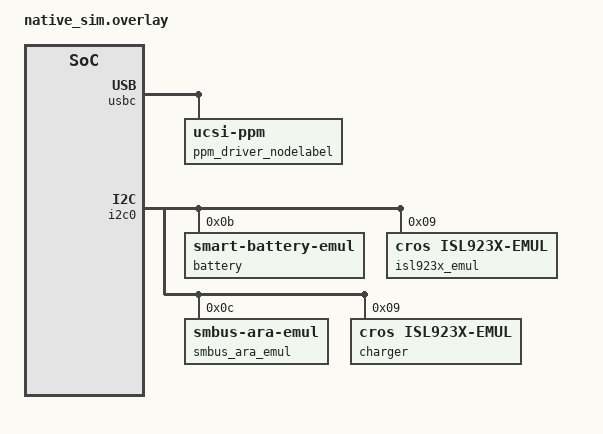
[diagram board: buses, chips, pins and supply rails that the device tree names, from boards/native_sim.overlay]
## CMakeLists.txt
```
# Copyright 2024 The ChromiumOS Authors
# Use of this source code is governed by a BSD-style license that can be
# found in the LICENSE file.

cmake_minimum_required(VERSION 3.13.1)
find_package(Zephyr REQUIRED HINTS "${ZEPHYR_BASE}")
project(pdc)

# Include FFF fakes
add_subdirectory(${PLATFORM_EC}/zephyr/test/test_utils test_utils)

zephyr_include_directories(include)

target_sources(app PRIVATE src/main.c)
target_sources(app PRIVATE src/fakes.c)

target_sources_ifdef(CONFIG_TEST_PDC_MESSAGE_TRACING  app PRIVATE
	src/util_pcap.c
	src/pdc_trace_msg.c)

if (DEFINED CONFIG_TEST_SUITE_PDC_API)
	target_sources(app PRIVATE src/generic/pdc_api.c)
endif()

if (DEFINED CONFIG_TEST_SUITE_PDC_GENERIC)
	target_sources(app PRIVATE src/generic/pdc_attached_snk.c)
	target_sources(app PRIVATE src/generic/pdc_power_mgmt_api.c)
	target_sources(app PRIVATE src/generic/pdc_pmc_debug_api.c)
	target_sources_ifdef(CONFIG_PDC_RUNTIME_PORT_CONFIG
		app PRIVATE src/board_runtime_config.c)
endif()

if (DEFINED CONFIG_TEST_SUITE_PDC_UTILS)
	target_sources(app PRIVATE src/generic/usb_utils.c)
endif()

if (DEFINED CONFIG_TEST_SUITE_PDC_POLICY)
	target_sources(app PRIVATE src/pdc_policy/non_pd_policy.c)
	target_sources(app PRIVATE src/pdc_policy/select_best_pdo.c)
	target_sources(app PRIVATE src/pdc_policy/src_policy_common.c)
	target_sources(app PRIVATE src/pdc_policy/src_policy_3a_port.c)
	target_sources(app PRIVATE src/pdc_policy/src_policy_battery_overload.c)
endif()

if (DEFINED CONFIG_TEST_SUITE_PDC_POLICY_SRC_NO_3A)
	target_sources(app PRIVATE src/pdc_policy/src_policy_common.c)
	target_sources(app PRIVATE src/pdc_policy/src_policy_no_3a_port.c)
endif()

if (DEFINED CONFIG_TEST_SUITE_PDC_POLICY_SINK)
	target_sources(app PRIVATE src/pdc_policy/sink_policy.c)
endif()

if (DEFINED CONFIG_TEST_SUITE_PDC_BATTERY_STATUS)
	target_sources(app PRIVATE src/generic/pdc_battery_status.c)
endif()

if (DEFINED CONFIG_TEST_PDC_POLICY_DEAD_BATTERY_TWO_CHARGERS)
	target_sources(app PRIVATE src/pdc_policy/dead_battery_policy.c)
	target_sources(app PRIVATE src/pdc_policy/dead_battery_two_chargers.c)
endif()

if (DEFINED CONFIG_TEST_PDC_POLICY_DEAD_BATTERY_AC_ONLY_AP_ON)
	target_sources(app PRIVATE src/pdc_policy/dead_battery_policy.c)
	target_sources(app PRIVATE src/pdc_policy/dead_battery_ac_only_ap_on.c)
endif()

if (DEFINED CONFIG_TEST_PDC_POLICY_DEAD_BATTERY_AC_ONLY_AP_OFF)
	target_sources(app PRIVATE src/pdc_policy/dead_battery_policy.c)
	target_sources(app PRIVATE src/pdc_policy/dead_battery_ac_only_ap_off.c)
endif()

if (DEFINED CONFIG_TEST_SUITE_PDC_POLICY_CLAMPED)
	target_sources(app PRIVATE src/pdc_policy/select_best_pdo_clamped.c)
endif()

if (DEFINED CONFIG_TEST_SUITE_PDC_POLICY_VARIABLE)
	target_sources(app PRIVATE src/pdc_policy/select_best_pdo_variable.c)
endif()

if (DEFINED CONFIG_TEST_SUITE_PDC_API_NULL_CHECK)
	target_sources(app PRIVATE src/generic/pdc_null_api.c)
endif()

if (DEFINED CONFIG_TEST_SUITE_PDC_DEVICE_NOT_READY)
	target_sources(app PRIVATE src/generic/device_not_ready.c)
endif()

if (DEFINED CONFIG_TEST_SUITE_PDC_RTS54XX)
	target_sources(app PRIVATE src/rts54xx/rts54xx.c)
endif()

if (DEFINED CONFIG_TEST_SUITE_PDC_TPS6699X)
	zephyr_include_directories(${PLATFORM_EC}/zephyr/drivers/usbc)
	target_sources(app PRIVATE src/tps6699x/tps6699x.c)
endif()

if (DEFINED CONFIG_TEST_SUITE_PDC_RETIMER_FW_UPDATE)
	target_sources(app PRIVATE src/generic/retimer_fw_update.c)
endif()

if (DEFINED CONFIG_TEST_SUITE_PDC_CONSOLE)
	target_sources(app PRIVATE src/generic/pdc_console.c)
	target_sources(app PRIVATE src/mock_pdc_power_mgmt.c)
endif()

if (DEFINED CONFIG_TEST_SUITE_PDC_HOSTCMD)
	target_sources(app PRIVATE src/generic/pdc_host_cmd.c)
	target_sources(app PRIVATE src/mock_pdc_power_mgmt.c)
endif()

if (DEFINED CONFIG_TEST_SUITE_UCSI_HOSTCMD)
	target_sources(app PRIVATE src/generic/ucsi_host_cmd.c)
	target_sources(app PRIVATE ${PLATFORM_EC}/zephyr/subsys/ucsi/ucsi_host_cmd.c)
endif()

if (DEFINED CONFIG_TEST_SUITE_PPM)
	zephyr_include_directories(${PLATFORM_EC}/zephyr/subsys/ucsi)
	target_sources(app PRIVATE src/generic/ppm.c)
	target_sources(app PRIVATE src/generic/ucsi_ppm_host_cmd.c)
	target_sources_ifdef(CONFIG_PDC_RUNTIME_PORT_CONFIG
		app PRIVATE src/board_runtime_config.c)
endif()

if (DEFINED CONFIG_TEST_SUITE_PPM_CONSOLE)
	target_sources(app PRIVATE ${PLATFORM_EC}/zephyr/subsys/ucsi/ppm_console.c)
	target_sources(app PRIVATE src/generic/ppm_console.c)
endif()

if (DEFINED CONFIG_TEST_SUITE_PDC_PMC_USB_MUX)
	target_sources(app PRIVATE src/generic/pdc_pmc_usb_mux.c)
endif()

if (DEFINED CONFIG_TEST_SUITE_PPM_DRIVER)
	target_sources(app PRIVATE src/generic/ppm_driver.c)
	target_sources(app PRIVATE ${PLATFORM_EC}/zephyr/subsys/ucsi/ppm_driver.c)
endif()

if (DEFINED CONFIG_TEST_SUITE_PDC_UCSI)
	target_sources(app PRIVATE src/ucsi/ucsi.c)
endif()

if (DEFINED CONFIG_TEST_SUITE_PPM_STATE_MACHINE)
	target_sources(app PRIVATE src/generic/ppm_state_machine.c)

	zephyr_include_directories(${PLATFORM_EC}/zephyr/subsys/ucsi)
	target_sources(app PRIVATE ${PLATFORM_EC}/zephyr/subsys/ucsi/ppm_common.c)
endif()

if (DEFINED CONFIG_TEST_SUITE_PDC_TRACE_MSG)
	target_sources(app PRIVATE src/generic/pdc_trace_msg.c)
endif()

if (DEFINED CONFIG_TEST_SUITE_PDC_RUNTIME_PORT_CONFIG)
	target_sources_ifdef(CONFIG_TEST_PDC_RUNTIME_CONFIG_SCENARIO_NO_PDCS
		app PRIVATE src/runtime_config/no_pdcs.c)
	target_sources_ifdef(CONFIG_TEST_PDC_RUNTIME_CONFIG_SCENARIO_ONE_PDC
		app PRIVATE src/runtime_config/one_pdc.c)
	target_sources_ifdef(CONFIG_TEST_PDC_RUNTIME_CONFIG_SCENARIO_DISCONT
		app PRIVATE src/runtime_config/discontiguous.c)
	target_sources_ifdef(CONFIG_TEST_PDC_RUNTIME_CONFIG_SCENARIO_TWO_PDCS
		app PRIVATE src/runtime_config/two_pdcs.c)
endif()

if (DEFINED CONFIG_TEST_SUITE_PDC_COMMS_SUSPEND_RESUME)
	target_sources(app PRIVATE src/generic/pdc_comms_suspend_resume.c)
endif()
```

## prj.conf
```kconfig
# Copyright 2024 The ChromiumOS Authors
# Use of this source code is governed by a BSD-style license that can be
# found in the LICENSE file.

CONFIG_ZTEST=y

# Basic EC functions
CONFIG_SHIMMED_TASKS=y
CONFIG_CROS_EC=y
CONFIG_PLATFORM_EC=y
CONFIG_PLATFORM_EC_HOOKS=y
CONFIG_PLATFORM_EC_HOSTCMD=y
CONFIG_PLATFORM_EC_SYSTEM_UNLOCKED=y

# Disable CONFIG_PLATFORM_EC_DEBUG_ASSERT to avoid
# zassert_post_action conflict
CONFIG_PLATFORM_EC_DEBUG_ASSERT=n

# Console
CONFIG_SHELL_BACKEND_DUMMY=y
CONFIG_SHELL_BACKEND_DUMMY_BUF_SIZE=1000
CONFIG_SHELL_BACKEND_SERIAL=n
CONFIG_SERIAL=y

# Logging is configured to send output to the shell, disable
# the UART backed to prevent duplicate messages in the output.
CONFIG_LOG_BACKEND_UART=n

# Emulated PDC
CONFIG_EMUL=y

# Disable BC1.2
CONFIG_PLATFORM_EC_USB_CHARGER=n

CONFIG_PLATFORM_EC_CHARGER=y
CONFIG_PLATFORM_EC_CHARGER_SENSE_RESISTOR=10
CONFIG_PLATFORM_EC_CHARGER_SENSE_RESISTOR_AC=10
CONFIG_PLATFORM_EC_CHARGER_ISL9238=y

# Turn off other unneeded features
CONFIG_PLATFORM_EC_BACKLIGHT_LID=n
CONFIG_PLATFORM_EC_VBOOT_HASH=n
CONFIG_PLATFORM_EC_SWITCH=n
CONFIG_PLATFORM_EC_USBC_SS_MUX=n

# Disable [TCPMv2] Power Delivery Function
CONFIG_PLATFORM_EC_USB_POWER_DELIVERY=n
CONFIG_PLATFORM_EC_USBC_PPC=n
CONFIG_PLATFORM_EC_USB_PD_PPC=n
CONFIG_PLATFORM_EC_HOSTCMD_PD_CONTROL=n
CONFIG_PLATFORM_EC_HOSTCMD_RWHASHPD=n

# Disable typec host commands until a PDC counterpart exists.
CONFIG_PLATFORM_EC_HOSTCMD_TYPEC_DISCOVERY=n
CONFIG_PLATFORM_EC_HOSTCMD_TYPEC_CONTROL=n
CONFIG_PLATFORM_EC_HOSTCMD_TYPEC_STATUS=n
CONFIG_PLATFORM_EC_HOSTCMD_PD_CHIP_INFO=n

# Use PD Controller
CONFIG_PLATFORM_EC_USBC=y
CONFIG_PLATFORM_EC_USB_PD_CONTROLLER=y
CONFIG_PLATFORM_EC_USB_PD_VBUS_MEASURE_NOT_PRESENT=y
CONFIG_PLATFORM_EC_USB_PD_DISCHARGE=n

# Test PDC-driven CCD
CONFIG_USBC_PDC_DRIVEN_CCD=y

# Allow more time in unit tests for the PDC Power Mgmt state machine to reach
# a steady state. TODO(b/372259212): Investigate what's holding up the sequence
CONFIG_PDC_POWER_MGMT_STATE_MACHINE_SETTLED_TIMEOUT_MS=2500

# Charger
CONFIG_PLATFORM_EC_BATTERY_FUEL_GAUGE=y
CONFIG_PLATFORM_EC_CHARGER_ISL9238=y
CONFIG_PLATFORM_EC_CHARGER_SENSE_RESISTOR=10
CONFIG_PLATFORM_EC_CHARGER_SENSE_RESISTOR_AC=20
CONFIG_PLATFORM_EC_CHARGER_MIN_POWER_MW_FOR_POWER_ON=30000
CONFIG_PLATFORM_EC_CHARGER_MIN_POWER_MW_FOR_POWER_ON_WITH_BATT=15000

CONFIG_USB_PDC_POWER_MGMT=y

# Print logs from Zephyr LOG_MODULE to stdout
CONFIG_UART_NATIVE_PTY_0_ON_STDINOUT=y
CONFIG_LOG_BACKEND_SHOW_COLOR=n

CONFIG_PLATFORM_EC_USB_PD_VBUS_MEASURE_NOT_PRESENT=y
CONFIG_PDC_POWER_MGMT_SRC_PDO_PEAK_OCP_150=y

# Test battery overload
CONFIG_PDC_POWER_MGMT_SRC_THROTTLING=n
```

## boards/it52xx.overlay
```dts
/* Copyright 2026 The ChromiumOS Authors
 * Use of this source code is governed by a BSD-style license that can be
 * found in the LICENSE file.
 */

#include "native_sim.overlay"

&i2c0 {
	pdc_emul1: it52xx-pdc@26 {
		compatible = "ite,it52xx-pdc";
		reg = <0x26>;
		ccd;
	};

	pdc_emul2: it52xx-pdc@27 {
		compatible = "ite,it52xx-pdc";
		reg = <0x27>;
	};
};
```

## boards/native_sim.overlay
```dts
/* Copyright 2024 The ChromiumOS Authors
 * Use of this source code is governed by a BSD-style license that can be
 * found in the LICENSE file.
 */

#include <board-overlays/native_sim.dts>
#include <it8xxx2_emul.dts>
#include <usbc-policy.dtsi>

/ {
	usbc {
		#address-cells = <1>;
		#size-cells = <0>;

		/* Configure just the DB port
		 */
		usbc0: port0@0 {
			compatible = "named-usbc-port";
			reg = <0>;
			chg = <&charger>;
			pdc = <&pdc_emul1>;
			chg = <&isl923x_emul>;
			policy = <&cros_policy>;
			pd-retimer;
			usb-mux-chain-0 {
				compatible = "cros-ec,usb-mux-chain";
				usb-muxes = <&virtual_mux_0>;
			};
			zephyr,deferred-init;
		};

		port0-muxes {
			virtual_mux_0: virtual-mux-0 {
				compatible = "cros-ec,usbc-mux-virtual";
			};
		};

		usbc1: port1@1 {
			compatible = "named-usbc-port";
			reg = <1>;
			pdc = <&pdc_emul2>;
			policy = <&cros_policy>;
			pd-retimer;
			usb-mux-chain-1 {
				compatible = "cros-ec,usb-mux-chain";
				usb-muxes = <&virtual_mux_1>;
			};
			zephyr,deferred-init;
		};

		port1-muxes {
			virtual_mux_1: virtual-mux-1 {
				compatible = "cros-ec,usbc-mux-virtual";
			};
		};

		ppm_driver_nodelabel: ppm-driver {
			compatible = "ucsi-ppm";
			b-num-alt-modes = <2>;
		};
	};

	batteries {
		default_battery: lgc_ac17a8m {
			compatible = "lgc,ac17a8m", "battery-smart";
		};
	};

	named-i2c-ports {
		compatible = "named-i2c-ports";

		i2c_ec_i2c_usb_c0: ec_i2c_usb_c0 {
			i2c-port = <&i2c0>;
			enum-names = "I2C_PORT_USB_C0_TCPC";
		};

		i2c_ec_i2c_charger: ec_i2c_charger {
			i2c-port = <&i2c0>;
			enum-names = "I2C_PORT_BATTERY";
		};
	};

};

&i2c0 {
	battery: sb@b {
		compatible = "zephyr,smart-battery-emul";
		reg = <0xb>;
		cycle-count = <6>;
		version = "BATTERY_SPEC_VER_1_1_WITH_PEC";
		desired-charg-volt = <11250>;
		desired-charg-cur = <2400>;
		mf-name = "LGC";
		dev-name = "AP18C8K";
	};

	isl923x_emul: isl923x@9 {
		compatible = "cros,isl923x-emul";
		status = "okay";
		reg = <0x09>;
		battery = <&battery>;
	};

	smbus_ara_emul: smbus_ara@c {
		compatible = "zephyr,smbus-ara-emul";
		reg = <0xc>;
	};

	charger: isl9238@9 {
		compatible = "cros,isl923x-emul";
		status = "okay";
		reg = <0x9>;
		battery = <&battery>;
	};
};

&cros_policy {
	max-discharge-current-ma = <4500>;
	max-discharge-power-mw = <41000>;
};
```

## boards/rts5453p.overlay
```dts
/* Copyright 2024 The ChromiumOS Authors
 * Use of this source code is governed by a BSD-style license that can be
 * found in the LICENSE file.
 */

#include "native_sim.overlay"

&i2c0 {
	pdc_emul1: rts5453p@66 {
		compatible = "realtek,rts54-pdc";
		status = "okay";
		reg = <0x66>;
		irq-gpios = <&gpio0 0 GPIO_ACTIVE_LOW>;
		ccd;
		usb-comm-capable-as-device;
		usb4-capable-as-host;
	};

	pdc_emul2: rts5453p@67 {
		compatible = "realtek,rts54-pdc";
		status = "okay";
		reg = <0x67>;
		irq-gpios = <&gpio0 0 GPIO_ACTIVE_LOW>;
	};
};
```

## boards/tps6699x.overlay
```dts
/* Copyright 2024 The ChromiumOS Authors
 * Use of this source code is governed by a BSD-style license that can be
 * found in the LICENSE file.
 */

#include "native_sim.overlay"

/{
        /* Leverage 'zephyr,user' node for driver specific behavior */
        zephyr,user {
                test_timeout = <1850>;
                /* TI PDC Info */
                pd_version = <0>;
                pd_revision = <0>;
                project_name = "GOOG";
        };
};

&i2c0 {
        pdc_emul1: tps6699-pdc@20 {
                compatible = "ti,tps6699-pdc";
                reg = <0x20>;
                irq-gpios = <&gpiof 5 (GPIO_PULL_UP | GPIO_ACTIVE_LOW)>;
                port-index-on-chip = <0x1>;
                ccd;
                frs-supported;
        };

        pdc_emul2: tps6699-pdc@24 {
                compatible = "ti,tps6699-pdc";
                reg = <0x24>;
                irq-gpios = <&gpiof 5 (GPIO_PULL_UP | GPIO_ACTIVE_LOW)>;
                port-index-on-chip = <0x2>;
                frs-supported;
        };
};
```

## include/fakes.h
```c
/* Copyright 2025 The ChromiumOS Authors
 * Use of this source code is governed by a BSD-style license that can be
 * found in the LICENSE file.
 */

#ifndef PLATFORM_EC_ZEPHYR_TEST_PDC_INCLUDE_FAKES_H_
#define PLATFORM_EC_ZEPHYR_TEST_PDC_INCLUDE_FAKES_H_

#include "battery.h"

extern struct batt_params test_batt_params;

void set_battery_present(enum battery_present bp);

extern int mock_usb_pd_3a_ports;

#endif /* PLATFORM_EC_ZEPHYR_TEST_PDC_INCLUDE_FAKES_H_ */
```

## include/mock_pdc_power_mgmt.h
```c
/* Copyright 2024 The ChromiumOS Authors
 * Use of this source code is governed by a BSD-style license that can be
 * found in the LICENSE file.
 */

#ifndef PLATFORM_EC_ZEPHYR_TEST_PDC_INCLUDE_MOCK_PDC_POWER_MGMT_H_
#define PLATFORM_EC_ZEPHYR_TEST_PDC_INCLUDE_MOCK_PDC_POWER_MGMT_H_

#include "drivers/ucsi_v3.h"
#include "usbc/pdc_power_mgmt.h"

#include <zephyr/fff.h>

/* FFF fake declarations for select functions in `pdc_power_mgmt.c` */

DECLARE_FAKE_VALUE_FUNC(int, pdc_power_mgmt_connector_reset, int,
			enum connector_reset);
DECLARE_FAKE_VALUE_FUNC(int, pdc_power_mgmt_get_cable_prop, int,
			union cable_property_t *);
DECLARE_FAKE_VALUE_FUNC(int, pdc_power_mgmt_get_connector_status, int,
			union connector_status_t *);
DECLARE_FAKE_VALUE_FUNC(int, pdc_power_mgmt_get_info, int, struct pdc_info_t *,
			bool);
DECLARE_FAKE_VALUE_FUNC(bool, pdc_power_mgmt_get_partner_data_swap_capable,
			int);
DECLARE_FAKE_VALUE_FUNC(enum pd_power_role, pdc_power_mgmt_get_power_role, int);
DECLARE_FAKE_VALUE_FUNC(const char *, pdc_power_mgmt_get_task_state_name, int);
DECLARE_FAKE_VALUE_FUNC(bool, pdc_power_mgmt_is_connected, int);
DECLARE_FAKE_VALUE_FUNC(enum pd_data_role, pdc_power_mgmt_pd_get_data_role,
			int);
DECLARE_FAKE_VALUE_FUNC(enum tcpc_cc_polarity, pdc_power_mgmt_pd_get_polarity,
			int);
DECLARE_FAKE_VOID_FUNC(pdc_power_mgmt_request_data_swap, int);
DECLARE_FAKE_VOID_FUNC(pdc_power_mgmt_request_power_swap, int);
DECLARE_FAKE_VALUE_FUNC(int, pdc_power_mgmt_reset, int);
DECLARE_FAKE_VALUE_FUNC(int, pdc_power_mgmt_set_comms_state, bool);
DECLARE_FAKE_VOID_FUNC(pdc_power_mgmt_set_dual_role, int,
		       enum pd_dual_role_states);
DECLARE_FAKE_VALUE_FUNC(enum pd_dual_role_states, pdc_power_mgmt_get_dual_role,
			int);
DECLARE_FAKE_VALUE_FUNC(int, pdc_power_mgmt_set_trysrc, int, bool);
DECLARE_FAKE_VOID_FUNC(pdc_power_mgmt_request_source_voltage, int, int);
DECLARE_FAKE_VALUE_FUNC(unsigned int, pdc_power_mgmt_get_max_voltage);
DECLARE_FAKE_VALUE_FUNC(uint8_t, pdc_power_mgmt_get_src_cap_cnt, int);
DECLARE_FAKE_VALUE_FUNC(const uint32_t *const, pdc_power_mgmt_get_src_caps,
			int);
DECLARE_FAKE_VALUE_FUNC(int, pdc_power_mgmt_get_lpm_ppm_info, int,
			struct lpm_ppm_info_t *);
DECLARE_FAKE_VALUE_FUNC(bool, pdc_power_mgmt_check_hpd_wake, int);
DECLARE_FAKE_VALUE_FUNC(int, pdc_power_mgmt_get_pch_data_status, int,
			uint8_t *);
DECLARE_FAKE_VALUE_FUNC(int, pdc_power_mgmt_get_rdo, int, uint32_t *);
DECLARE_FAKE_VALUE_FUNC(int, pdc_power_mgmt_get_drp_mode, int,
			enum drp_mode_t *);
DECLARE_FAKE_VALUE_FUNC(bool, pdc_power_mgmt_get_vconn_state, int);
DECLARE_FAKE_VALUE_FUNC(int, pdc_power_mgmt_get_sbu_mux_mode,
			enum pdc_sbu_mux_mode *, int *);
DECLARE_FAKE_VALUE_FUNC(int, pdc_power_mgmt_set_sbu_mux_mode,
			enum pdc_sbu_mux_mode);
DECLARE_FAKE_VALUE_FUNC(int, pdc_power_mgmt_set_bbr_cts, int, bool);
DECLARE_FAKE_VALUE_FUNC(int, pdc_power_mgmt_set_ap_power_state,
			enum power_state);
DECLARE_FAKE_VOID_FUNC(pdc_power_mgmt_simulate_power_button_press, int);

/**
 * @brief Reset the above set of fakes
 */
void helper_reset_pdc_power_mgmt_fakes(void);

#endif /* PLATFORM_EC_ZEPHYR_TEST_PDC_INCLUDE_MOCK_PDC_POWER_MGMT_H_ */
```

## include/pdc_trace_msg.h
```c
/* Copyright 2024 The ChromiumOS Authors
 * Use of this source code is governed by a BSD-style license that can be
 * found in the LICENSE file.
 */

#ifndef PLATFORM_EC_ZEPHYR_TEST_PDC_INCLUDE_PDC_TRACE_MSG_H_
#define PLATFORM_EC_ZEPHYR_TEST_PDC_INCLUDE_PDC_TRACE_MSG_H_

void set_pdc_trace_msg_mocks(void);

#endif /* PLATFORM_EC_ZEPHYR_TEST_PDC_INCLUDE_PDC_TRACE_MSG_H_ */
```

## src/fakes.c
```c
/* Copyright 2024 The ChromiumOS Authors
 * Use of this source code is governed by a BSD-style license that can be
 * found in the LICENSE file.
 */

#include "battery.h"
#include "charge_state.h"
#include "fakes.h"

static enum battery_present bp_val = BP_YES;

struct batt_params test_batt_params = {
	.is_present = BP_YES,
};

void set_battery_present(enum battery_present bp)
{
	bp_val = bp;
	test_batt_params.is_present = bp;
}

int battery_is_present(void)
{
	return bp_val;
}

const struct batt_params *charger_current_battery_params(void)
{
	return &test_batt_params;
}

int test_extpower_present = 0;
int extpower_is_present(void)
{
	return test_extpower_present;
}

#ifndef CONFIG_PLATFORM_EC_USB_PD_3A_PORTS
#define CONFIG_PLATFORM_EC_USB_PD_3A_PORTS 0
#endif
int mock_usb_pd_3a_ports = CONFIG_PLATFORM_EC_USB_PD_3A_PORTS;
int pd_get_usb_pd_3a_ports(void)
{
	return mock_usb_pd_3a_ports;
}
```

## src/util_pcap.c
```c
/* Copyright 2024 The ChromiumOS Authors
 * Use of this source code is governed by a BSD-style license that can be
 * found in the LICENSE file.
 */

#include "timer.h"
#include "util_pcap.h"

#include <stdio.h>
#include <string.h>

#include <zephyr/kernel.h>
#include <zephyr/logging/log.h>
#include <zephyr/sys/clock.h>

LOG_MODULE_REGISTER(pdc_util_pcap, LOG_LEVEL_INF);

/*
 * Minimal pcap file structures originally from pcap/pcap.h
 */

struct pcap_hdr {
	uint32_t magic_number; /* magic number */
	uint16_t version_major; /* major version number */
	uint16_t version_minor; /* minor version number */
	int32_t thiszone; /* not used - SHOULD be filled with 0 */
	uint32_t sigfigs; /* not used - SHOULD be filled with 0 */
	uint32_t snaplen; /* max length saved portion of each pkt */
	uint32_t linktype; /* data link type (LINKTYPE_*) */
};

struct pcap_pkthdr {
	uint32_t ts_sec; /* time stamp seconds */
	uint32_t ts_usec; /* time stamp microseconds */
	uint32_t caplen; /* length of portion present in data */
	uint32_t len; /* length of this packet prior to any slicing */
};

FILE *pcap_open(void)
{
	/*
	 * Each test runs in its own dedicated output directory, so
	 * "rts.pcap" will be created as a sibling to "build.log" and
	 * "handler.log".
	 */
	static const char pcap_file[] = "rts.pcap";
	FILE *fp;
	struct pcap_hdr hdr;

	fp = fopen(pcap_file, "w");
	if (fp == NULL) {
		LOG_ERR("Could not open pcap file %s\n", pcap_file);
		return NULL;
	}

	memset(&hdr, 0, sizeof(hdr));
	hdr.magic_number = 0xa1b2c3d4; /* timestamp in microseconds */
	hdr.version_major = 2;
	hdr.version_minor = 4;
	hdr.snaplen = 512;
	hdr.linktype = 147; /* DLT_USER0 */

	fwrite(&hdr, sizeof(hdr), 1, fp);

	return fp;
}

void pcap_append(FILE *fp, const void *pl, size_t pl_sz)
{
	struct pcap_pkthdr pkt;
	uint64_t usec = k_ticks_to_us_near32(k_uptime_ticks());

	pkt.ts_sec = usec / USEC_PER_SEC;
	pkt.ts_usec = usec % USEC_PER_SEC;

	pkt.caplen = pl_sz;
	pkt.len = pl_sz;

	fwrite(&pkt, sizeof(pkt), 1, fp);
	fwrite(pl, pl_sz, 1, fp);
}
```

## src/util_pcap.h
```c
/* Copyright 2024 The ChromiumOS Authors
 * Use of this source code is governed by a BSD-style license that can be
 * found in the LICENSE file.
 */

#ifndef PLATFORM_EC_ZEPHYR_TEST_PDC_SRC_UTIL_PCAP_H_
#define PLATFORM_EC_ZEPHYR_TEST_PDC_SRC_UTIL_PCAP_H_

#include <stdio.h>

/*
 * @brief Create a PCAP file called "rts.pcap" in the
 *        test output directory and return its FILE *.
 *
 * @return FILE * of PCAP file.
 */
FILE *pcap_open(void);

/*
 * @brief Append data to PCAP file. The data is encapsulated
 *        in a PCAP entry header which includes a timestamp
 *        and data length information.
 *
 * @param pl    Pointer to data to write.
 * @param pl_sz Size of data to write.
 */
void pcap_append(FILE *fp, const void *pl, size_t pl_sz);

#endif /* PLATFORM_EC_ZEPHYR_TEST_PDC_SRC_UTIL_PCAP_H_ */
```
